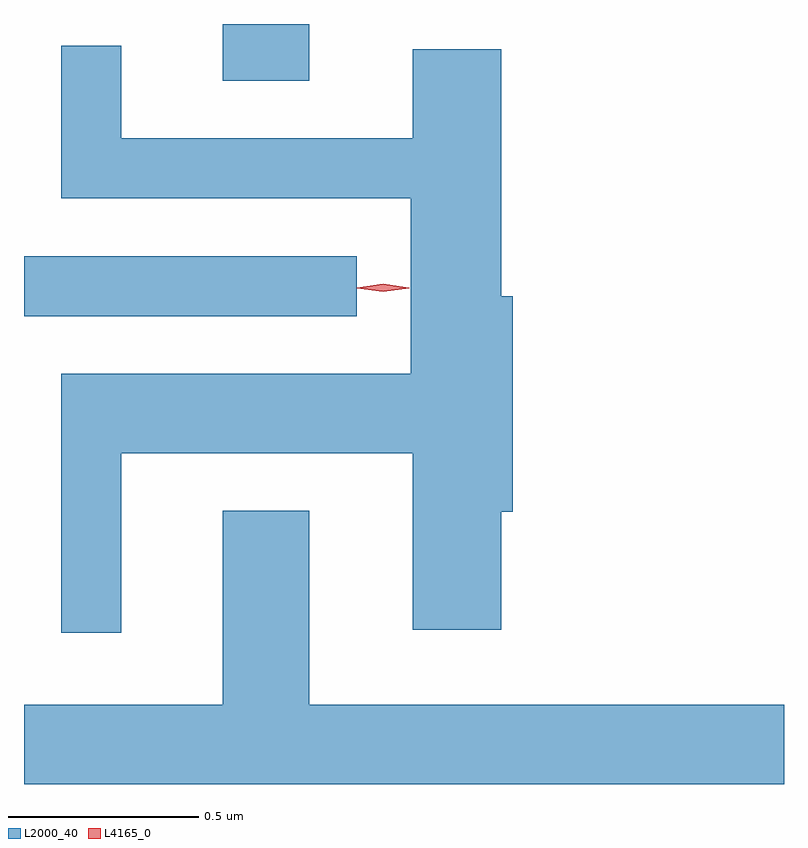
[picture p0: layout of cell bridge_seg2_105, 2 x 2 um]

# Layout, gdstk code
import gdstk
lib = gdstk.Library(unit=1e-6, precision=1e-09)
def R(c, l, rs):  # rectangles x0, y0, x1, y1
    for r in rs: c.add(gdstk.rectangle(r[:2], r[2:], *l))
def P(c, l, *ps):  # polygons
    for p in ps: c.add(gdstk.Polygon(p, *l))
L2000_40 = (2000, 40)
L4165_0 = (4165, 0)

bridge_seg2_105 = lib.new_cell('bridge_seg2_105')
R(bridge_seg2_105, L2000_40, [(1277.248,1000.766,1278.123,1000.924), (1277.771,1001.386,1277.999,1001.535)])
P(bridge_seg2_105, L2000_40, [(1277.504,1000.406),(1278.271,1000.406),(1278.271,999.941),(1278.504,999.941),(1278.504,1000.251),(1278.534,1000.251),(1278.534,1000.819),(1278.504,1000.819),(1278.504,1001.469),(1278.271,1001.469),(1278.271,1001.234),(1277.504,1001.234),(1277.504,1001.478),(1277.346,1001.478),(1277.346,1001.076),(1278.266,1001.076),(1278.266,1000.614),(1277.346,1000.614),(1277.346,999.933),(1277.504,999.933)],
  [(1279.248,999.744),(1277.999,999.744),(1277.999,1000.254),(1277.771,1000.254),(1277.771,999.744),(1277.248,999.744),(1277.248,999.535),(1279.248,999.535)])
P(bridge_seg2_105, L4165_0, [(1278.193,1000.831),(1278.124,1000.84),(1278.123,1000.841),(1278.124,1000.841),(1278.193,1000.851),(1278.262,1000.841),(1278.262,1000.841),(1278.262,1000.84)],
  [(1278.193,1000.831),(1278.128,1000.84),(1278.127,1000.841),(1278.128,1000.841),(1278.193,1000.851),(1278.258,1000.841),(1278.259,1000.841),(1278.258,1000.84)])

lib.write_gds('bridge_seg2_105.gds')
